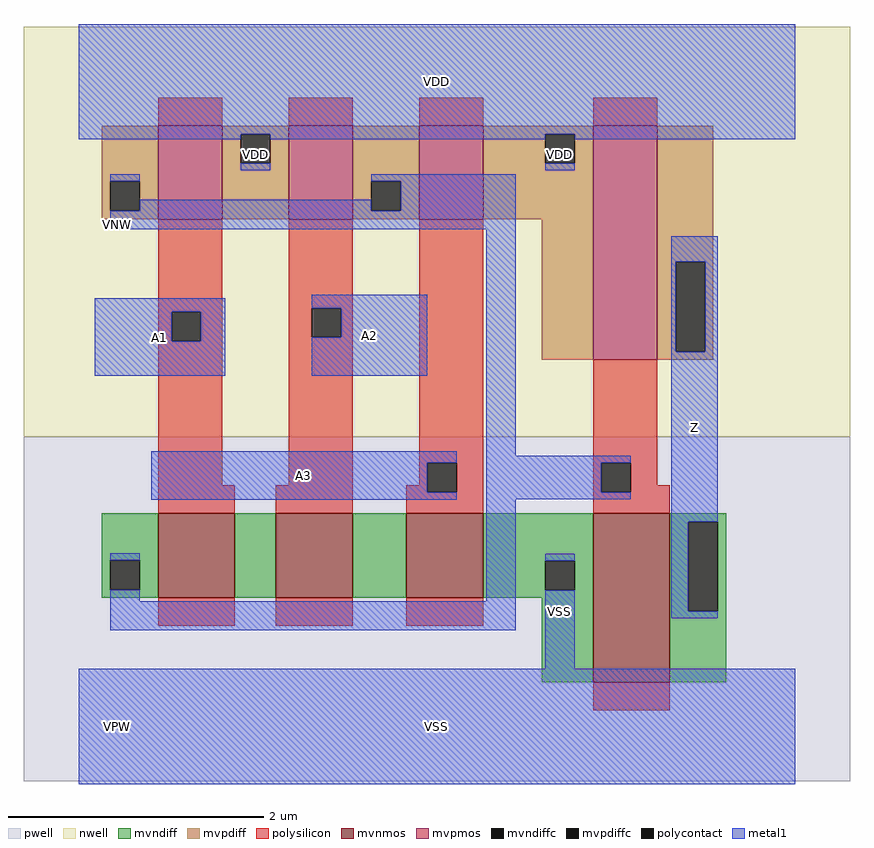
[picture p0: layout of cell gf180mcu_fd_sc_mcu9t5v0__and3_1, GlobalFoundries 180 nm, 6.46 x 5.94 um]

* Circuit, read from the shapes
.subckt gf180mcu_fd_sc_mcu9t5v0__and3_1 A1 A2 A3 Z VDD VNW VPW VSS
XM1 n1 A1 n2 VPW nfet_06v0 w=0.66u l=0.6u
XM2 n3 A2 n1 VPW nfet_06v0 w=0.66u l=0.6u
XM3 VSS A3 n3 VPW nfet_06v0 w=0.66u l=0.6u
XM4 Z n2 VSS VPW nfet_06v0 w=1.32u l=0.6u
XM5 VDD A1 n2 VNW pfet_06v0 w=0.73u l=0.5u
XM6 n2 A2 VDD VNW pfet_06v0 w=0.73u l=0.5u
XM7 VDD A3 n2 VNW pfet_06v0 w=0.73u l=0.5u
XM8 Z n2 VDD VNW pfet_06v0 w=1.83u l=0.5u
.ends

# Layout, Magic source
magic
tech gf180mcuD
magscale 1 10
<< nwell >>
rect -86 453 1206 1094
<< pwell >>
rect -86 -86 1206 453
<< mvnmos >>
rect 124 201 244 333
rect 308 201 428 333
rect 512 201 632 333
rect 804 69 924 333
<< mvpmos >>
rect 124 793 224 939
rect 328 793 428 939
rect 532 793 632 939
rect 804 573 904 939
<< mvndiff >>
rect 36 260 124 333
rect 36 214 49 260
rect 95 214 124 260
rect 36 201 124 214
rect 244 201 308 333
rect 428 201 512 333
rect 632 259 804 333
rect 632 213 729 259
rect 775 213 804 259
rect 632 201 804 213
rect 724 69 804 201
rect 924 320 1012 333
rect 924 180 953 320
rect 999 180 1012 320
rect 924 69 1012 180
<< mvpdiff >>
rect 36 852 124 939
rect 36 806 49 852
rect 95 806 124 852
rect 36 793 124 806
rect 224 926 328 939
rect 224 880 253 926
rect 299 880 328 926
rect 224 793 328 880
rect 428 852 532 939
rect 428 806 457 852
rect 503 806 532 852
rect 428 793 532 806
rect 632 926 804 939
rect 632 880 729 926
rect 775 880 804 926
rect 632 793 804 880
rect 724 573 804 793
rect 904 726 992 939
rect 904 586 933 726
rect 979 586 992 726
rect 904 573 992 586
<< mvndiffc >>
rect 49 214 95 260
rect 729 213 775 259
rect 953 180 999 320
<< mvpdiffc >>
rect 49 806 95 852
rect 253 880 299 926
rect 457 806 503 852
rect 729 880 775 926
rect 933 586 979 726
<< polysilicon >>
rect 124 939 224 983
rect 328 939 428 983
rect 532 939 632 983
rect 804 939 904 983
rect 124 648 224 793
rect 124 602 145 648
rect 191 602 224 648
rect 124 377 224 602
rect 328 654 428 793
rect 328 608 364 654
rect 410 608 428 654
rect 328 377 428 608
rect 532 412 632 793
rect 532 377 545 412
rect 124 333 244 377
rect 308 333 428 377
rect 512 366 545 377
rect 591 366 632 412
rect 512 333 632 366
rect 804 412 904 573
rect 804 366 817 412
rect 863 377 904 412
rect 863 366 924 377
rect 804 333 924 366
rect 124 157 244 201
rect 308 157 428 201
rect 512 157 632 201
rect 804 25 924 69
<< polycontact >>
rect 145 602 191 648
rect 364 608 410 654
rect 545 366 591 412
rect 817 366 863 412
<< metal1 >>
rect 0 926 1120 1098
rect 0 918 253 926
rect 299 918 729 926
rect 253 869 299 880
rect 775 918 1120 926
rect 729 869 775 880
rect 49 852 95 863
rect 457 852 683 863
rect 95 806 457 823
rect 503 806 683 852
rect 49 777 683 806
rect 25 648 229 669
rect 25 602 145 648
rect 191 602 229 648
rect 25 548 229 602
rect 364 654 545 675
rect 410 608 545 654
rect 364 548 545 608
rect 113 412 591 430
rect 113 366 545 412
rect 113 354 591 366
rect 637 423 683 777
rect 926 726 999 766
rect 926 586 933 726
rect 979 586 999 726
rect 637 412 863 423
rect 637 366 817 412
rect 637 355 863 366
rect 49 260 95 271
rect 49 196 95 214
rect 637 196 683 355
rect 926 320 999 586
rect 49 150 683 196
rect 729 259 775 270
rect 729 90 775 213
rect 926 180 953 320
rect 926 169 999 180
rect 0 -90 1120 90
<< labels >>
flabel metal1 s 25 548 229 669 0 FreeSans 200 0 0 0 A1
port 1 nsew default input
flabel metal1 s 364 548 545 675 0 FreeSans 200 0 0 0 A2
port 2 nsew default input
flabel metal1 s 113 354 591 430 0 FreeSans 200 0 0 0 A3
port 3 nsew default input
flabel metal1 s 0 918 1120 1098 0 FreeSans 200 0 0 0 VDD
port 5 nsew power bidirectional abutment
flabel metal1 s 729 90 775 270 0 FreeSans 200 0 0 0 VSS
port 8 nsew ground bidirectional abutment
flabel metal1 s 926 169 999 766 0 FreeSans 200 0 0 0 Z
port 4 nsew default output
flabel nwell s 10 734 110 834 0 FreeSans 400 0 0 0 VNW
port 6 nsew power bidirectional
flabel pwell s 10 -50 110 50 0 FreeSans 400 0 0 0 VPW
port 7 nsew ground bidirectional
rlabel metal1 s 729 869 775 918 1 VDD
port 5 nsew power bidirectional abutment
rlabel metal1 s 253 869 299 918 1 VDD
port 5 nsew power bidirectional abutment
rlabel metal1 s 0 -90 1120 90 1 VSS
port 8 nsew ground bidirectional abutment
<< properties >>
string FIXED_BBOX 0 0 1120 1008
string GDS_END 1140354
string GDS_FILE $PDKPATH/libs.ref/gf180mcu_fd_sc_mcu9t5v0/gds/gf180mcu_fd_sc_mcu9t5v0.gds
string GDS_START 1137040
string LEFclass core
string LEFsite GF018hv5v_green_sc9
string LEFsymmetry X Y
<< end >>
